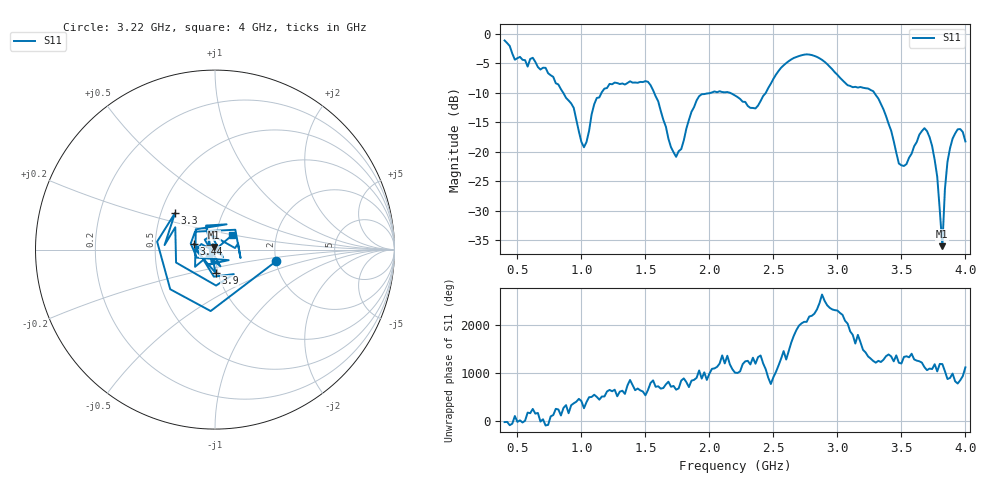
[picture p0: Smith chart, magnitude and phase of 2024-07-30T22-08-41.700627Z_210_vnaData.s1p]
!Created with skrf (http://scikit-rf.org).
# Hz S RI R 50.0
!freq ReS11 ImS11
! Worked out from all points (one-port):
!   181 points, 400 MHz to 4 GHz, reference 50 ohm
!   lowest |S11| = -36.0 dB at 3.82 GHz (marker M1), VSWR 1.03, Z = 49.5 + j1.49 ohm
!   |S11| at or under -10 dB: 857.6 MHz to 1.158 GHz (300.1 MHz wide, 29.8 % of centre); 1.568 GHz to 2.014 GHz (445.4 MHz wide, 24.9 % of centre); 3.288 GHz to end of sweep (the widest 3 of 4)
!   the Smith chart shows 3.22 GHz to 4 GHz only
!   S11 on the Smith chart (normalised r, x): 3.22 GHz: 2.00, -0.30; 3.3 GHz: 0.59, +0.27; 3.44 GHz: 0.79, +0.05; 3.9 GHz: 0.97, -0.26; 4 GHz: 1.19, +0.19
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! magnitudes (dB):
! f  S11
! 400 MHz  -1.2
! 860 MHz  -10.1
! 940 MHz  -12.6
! 1.02 GHz  -19.2
! 1.12 GHz  -10.9
! 1.3 GHz  -8.5
! 1.52 GHz  -8.2
! 1.7 GHz  -19.2
! 1.76 GHz  -19.9
! 1.92 GHz  -10.6
! 2.2 GHz  -10.5
! 2.36 GHz  -12.7
! 2.66 GHz  -4.1
! 2.84 GHz  -3.9
! 3.1 GHz  -8.9
! 3.22 GHz  -9.2
! 3.3 GHz  -10.4
! 3.44 GHz  -18.2
! 3.48 GHz  -22.0
! 3.56 GHz  -21.0
! 3.68 GHz  -16.0
! 3.72 GHz  -17.5
! 3.78 GHz  -24.2
! 3.82 GHz  -36.0
! 3.84 GHz  -26.4
! 3.86 GHz  -21.7
! 3.9 GHz  -17.8
! 4 GHz  -18.3
